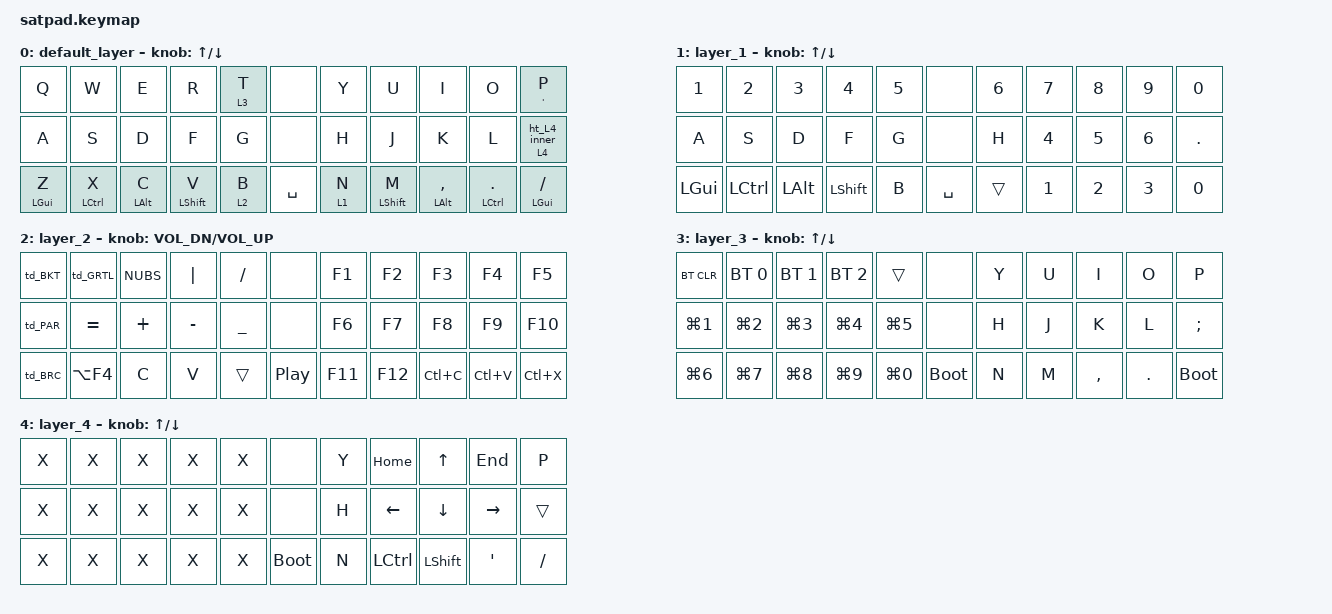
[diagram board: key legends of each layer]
/*
 * Copyright (c) 2022 The ZMK Contributors
 *
 * SPDX-License-Identifier: MIT
 */

#include <behaviors.dtsi>
#include <dt-bindings/zmk/keys.h>
#include <dt-bindings/zmk/bt.h>
#include <dt-bindings/zmk/mouse.h>

// Combo helper
#define COMBO(NAME, BINDINGS, KEYPOS) \
    combo_##NAME { \
        timeout-ms = <50>; \
        bindings = <BINDINGS>; \
        key-positions = <KEYPOS>; \
    };

/ {
    behaviors {
        ht: hold_tap {
            compatible = "zmk,behavior-hold-tap";
            #binding-cells = <2>;
            flavor = "tap-preferred";
            tapping-term-ms = <280>;
            quick-tap-ms = <125>;
            bindings = <&kp>, <&kp>;
        };

        td_BKT: tap_dance_0 {
            compatible = "zmk,behavior-tap-dance";
            #binding-cells = <0>;
            tapping-term-ms = <350>;
            bindings = <&kp LBKT>, <&kp RBKT>;
        };

        td_PAR: tap_dance_1 {
            compatible = "zmk,behavior-tap-dance";
            #binding-cells = <0>;
            tapping-term-ms = <350>;
            bindings = <&kp LPAR>, <&kp RPAR>;
        };

        td_BRC: tap_dance_2 {
            compatible = "zmk,behavior-tap-dance";
            #binding-cells = <0>;
            tapping-term-ms = <350>;
            bindings = <&kp LBRC>, <&kp RBRC>;
        };

        td_GRTL: tap_dance_3 {
            compatible = "zmk,behavior-tap-dance";
            #binding-cells = <0>;
            tapping-term-ms = <350>;
            bindings = <&kp GRAVE>, <&kp TILDE>;
        };


        ht_L4_inner: hold_tap_L4_inner {
            compatible = "zmk,behavior-tap-dance";
            #binding-cells = <0>;
            tapping-term-ms = <350>;
            bindings = <&kp SEMI>, <&kp SQT>;
        };

        ht_L4: hold_tap_L4 {
            compatible = "zmk,behavior-hold-tap";
            #binding-cells = <2>;
            flavor = "tap-preferred";
            tapping-term-ms = <350>;
            bindings = <&mo>, <&ht_L4_inner>;
        };

    };

/* 
  Keys reference. 
  5 and 16 are just for spacing over the controller.
  27 is the encoder button.
  ╭────────────────────╮╭──╮╭────────────────────╮
  │  0   1   2   3   4 │  5 │  6   7   8   9  10 │
  │ 11  12  13  14  15 │ 16 │ 17  18  19  20  21 │
  │ 22  23  24  25  26 │ 27 │ 28  29  30  31  32 │
  ╰────────────────────╯╰──╯╰────────────────────╯
*/
    combos {
        compatible = "zmk,combos";

        COMBO(space,     &kp SPC,     18 19)
        COMBO(escape,    &kp ESC,      0  1)
        COMBO(enter,     &kp ENTER,   20 21)
        COMBO(tab,       &kp TAB,     11 12)
        COMBO(caps,      &kp CAPS,     0 11)
        COMBO(backspace, &kp BSPC,     8 18)
        COMBO(delete,    &kp DEL,      9 18)
    };

    keymap {
        compatible = "zmk,keymap";

        default_layer {
            bindings = <
            /* ╭─────────────┬─────────────┬─────────────┬─────────────┬─────────────╮            ╭─────────────┬─────────────┬─────────────┬─────────────┬─────────────╮ */
                  &kp Q         &kp W         &kp E         &kp R         &lt 3 T         &none     &kp Y         &kp U         &kp I         &kp O         &ht SQT P
            /* ├─────────────┼─────────────┼─────────────┼─────────────┼─────────────┤            ├─────────────┼─────────────┼─────────────┼─────────────┼─────────────┤ */
                  &kp A         &kp S         &kp D         &kp F         &kp G           &none     &kp H         &kp J         &kp K         &kp L         &ht_L4 4 0
            /* ├─────────────┼─────────────┼─────────────┼─────────────┼─────────────┤╭──────────╮├─────────────┼─────────────┼─────────────┼─────────────┼─────────────┤ */
                  &ht LGUI Z   &ht LCTRL X    &ht LALT C   &ht LSHFT V    &lt 2 B       &kp SPC     &lt 1 N      &ht LSHFT M  &ht LALT COMMA &ht LCTRL DOT &ht LGUI FSLH
            /* ╰─────────────┴─────────────┴─────────────┴─────────────┴─────────────╯╰──────────╯╰─────────────┴─────────────┴─────────────┴─────────────┴─────────────╯ */
            >;
            sensor-bindings = <&inc_dec_kp UP DOWN>;
        };

        layer_1 {
            bindings = <
            /* ╭─────────────┬─────────────┬─────────────┬─────────────┬─────────────╮            ╭─────────────┬─────────────┬─────────────┬─────────────┬─────────────╮ */
                  &kp N1        &kp N2        &kp N3        &kp N4         &kp N5        &none        &kp N6        &kp N7        &kp N8        &kp N9        &kp N0
            /* ├─────────────┼─────────────┼─────────────┼─────────────┼─────────────┤            ├─────────────┼─────────────┼─────────────┼─────────────┼─────────────┤ */
                  &kp A         &kp S         &kp D         &kp F          &kp G         &none        &kp H         &kp N4        &kp N5        &kp N6        &kp DOT
            /* ├─────────────┼─────────────┼─────────────┼─────────────┼─────────────┤╭──────────╮├─────────────┼─────────────┼─────────────┼─────────────┼─────────────┤ */
                  &kp LGUI      &kp LCTRL     &kp LALT      &kp LSHFT      &kp B         &kp SPC      &trans        &kp N1        &kp N2        &kp N3        &kp N0
            /* ╰─────────────┴─────────────┴─────────────┴─────────────┴─────────────╯╰──────────╯╰─────────────┴─────────────┴─────────────┴─────────────┴─────────────╯ */
            >;
            sensor-bindings = <&inc_dec_kp UP DOWN>;
        };

        layer_2 {
            bindings = <
            /* ╭─────────────┬─────────────┬─────────────┬─────────────┬─────────────╮            ╭─────────────┬─────────────┬─────────────┬─────────────┬─────────────╮ */
                  &td_BKT      &td_GRTL       &kp NUBS      &kp PIPE      &kp SLASH      &none        &kp F1        &kp F2        &kp F3        &kp F4        &kp F5
            /* ├─────────────┼─────────────┼─────────────┼─────────────┼─────────────┤            ├─────────────┼─────────────┼─────────────┼─────────────┼─────────────┤ */
                  &td_PAR      &kp EQUAL      &kp PLUS      &kp MINUS     &kp UNDER      &none        &kp F6        &kp F7        &kp F8        &kp F9        &kp F10
            /* ├─────────────┼─────────────┼─────────────┼─────────────┼─────────────┤╭──────────╮├─────────────┼─────────────┼─────────────┼─────────────┼─────────────┤ */
                  &td_BRC      &kp LA(F4)     &kp C         &kp V         &trans        &kp C_PP      &kp F11       &kp F12       &kp LC(C)     &kp LC(V)     &kp LC(X)
            /* ╰─────────────┴─────────────┴─────────────┴─────────────┴─────────────╯╰──────────╯╰─────────────┴─────────────┴─────────────┴─────────────┴─────────────╯ */
            >;
            sensor-bindings = <&inc_dec_kp C_VOL_DN C_VOL_UP>;
        };

        layer_3 {
            bindings = <
            /* ╭─────────────┬─────────────┬─────────────┬─────────────┬─────────────╮            ╭─────────────┬─────────────┬─────────────┬─────────────┬─────────────╮ */
                 &bt BT_CLR   &bt BT_SEL 0  &bt BT_SEL 1  &bt BT_SEL 2   &trans          &none       &kp Y         &kp U         &kp I         &kp O        &kp P
            /* ├─────────────┼─────────────┼─────────────┼─────────────┼─────────────┤            ├─────────────┼─────────────┼─────────────┼─────────────┼─────────────┤ */
                 &kp LG(N1)   &kp LG(N2)    &kp LG(N3)    &kp LG(N4)     &kp LG(N5)      &none       &kp H         &kp J         &kp K         &kp L        &kp SEMI
            /* ├─────────────┼─────────────┼─────────────┼─────────────┼─────────────┤╭──────────╮├─────────────┼─────────────┼─────────────┼─────────────┼─────────────┤ */
                 &kp LG(N6)   &kp LG(N7)    &kp LG(N8)    &kp LG(N9)     &kp LG(N0)    &bootloader   &kp N         &kp M         &kp COMMA     &kp DOT      &bootloader
            /* ╰─────────────┴─────────────┴─────────────┴─────────────┴─────────────╯╰──────────╯╰─────────────┴─────────────┴─────────────┴─────────────┴─────────────╯ */
            >;
            sensor-bindings = <&inc_dec_kp UP DOWN>;
        };

        layer_4 {
            bindings = <
            /* ╭─────────────┬─────────────┬─────────────┬─────────────┬─────────────╮            ╭─────────────┬─────────────┬─────────────┬─────────────┬─────────────╮ */
                 &kp X         &kp X         &kp X         &kp X         &kp X           &none       &kp Y        &kp HOME      &kp UP        &kp END       &kp P
            /* ├─────────────┼─────────────┼─────────────┼─────────────┼─────────────┤            ├─────────────┼─────────────┼─────────────┼─────────────┼─────────────┤ */
                 &kp X         &kp X         &kp X         &kp X         &kp X           &none       &kp H        &kp LEFT      &kp DOWN      &kp RIGHT     &trans
            /* ├─────────────┼─────────────┼─────────────┼─────────────┼─────────────┤╭──────────╮├─────────────┼─────────────┼─────────────┼─────────────┼─────────────┤ */
                 &kp X         &kp X         &kp X         &kp X         &kp X         &bootloader   &kp N        &kp LCTRL     &kp LSHFT     &kp SQT       &kp FSLH
            /* ╰─────────────┴─────────────┴─────────────┴─────────────┴─────────────╯╰──────────╯╰─────────────┴─────────────┴─────────────┴─────────────┴─────────────╯ */
            >;
            sensor-bindings = <&inc_dec_kp UP DOWN>;
        };

    };
};
